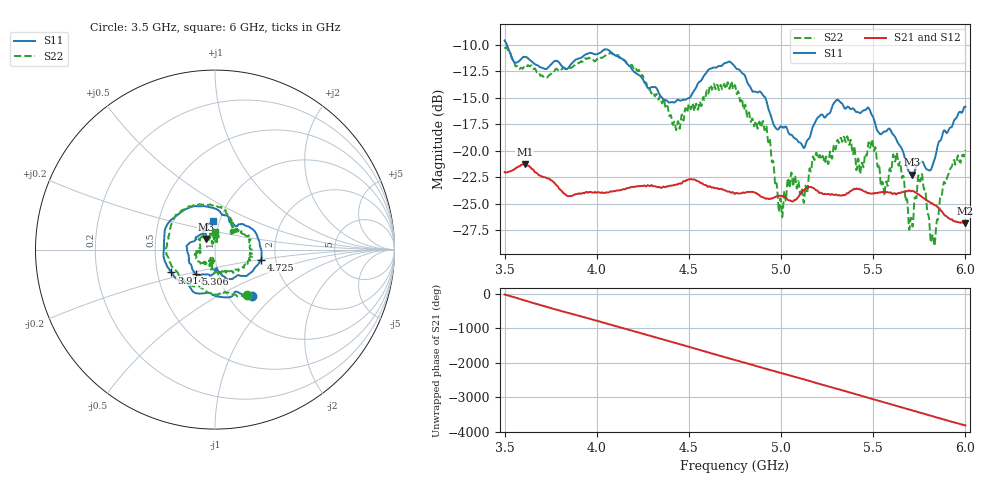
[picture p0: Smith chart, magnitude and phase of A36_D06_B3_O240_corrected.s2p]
! Created with skrf 1.9.0 (http://scikit-rf.org).
# Hz S RI R 50.0
!freq ReS11 ImS11 ReS21 ImS21 ReS12 ImS12 ReS22 ImS22
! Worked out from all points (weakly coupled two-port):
!   1601 points, 3.5 GHz to 6 GHz, reference 50 ohm
!   highest |S21| = -21.26 dB at 3.609 GHz (marker M1); lowest = -26.8 dB at 5.998 GHz (marker M2)
!   lowest |S11| = -22.3 dB at 5.713 GHz (marker M3), VSWR 1.17, Z = 45 + j5.42 ohm
!   |S11| at or under -10 dB: 3.512 GHz to end of sweep
!   |S22| runs from -29.0 to -10.2 dB; largest |S21 - S12| = 0.00095
!   S11 on the Smith chart (normalised r, x): 3.5 GHz: 1.27, -0.74; 3.914 GHz: 0.59, -0.16; 4.725 GHz: 1.67, -0.20; 5.306 GHz: 0.78, -0.22; 6 GHz: 0.93, +0.31
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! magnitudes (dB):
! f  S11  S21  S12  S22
! 3.5 GHz  -9.6  -22.0  -22.0  -10.2
! 3.609 GHz  -11.1  -21.3  -21.3  -12.1
! 3.914 GHz  -11.2  -24.0  -24.0  -11.6
! 3.917 GHz  -11.2  -24.0  -24.0  -11.6
! 4.105 GHz  -11.0  -23.8  -23.7  -11.1
! 4.334 GHz  -14.5  -23.4  -23.4  -15.2
! 4.441 GHz  -15.2  -23.2  -23.1  -17.2
! 4.725 GHz  -11.6  -23.9  -23.8  -13.9
! 4.75 GHz  -12.1  -24.1  -24.0  -13.8
! 4.912 GHz  -14.9  -24.5  -24.4  -18.0
! 4.997 GHz  -17.7  -24.2  -24.2  -24.5
! 5.167 GHz  -18.0  -23.5  -23.4  -21.3
! 5.306 GHz  -15.2  -24.2  -24.1  -19.0
! 5.486 GHz  -16.4  -24.0  -24.0  -19.6
! 5.584 GHz  -17.9  -23.9  -23.9  -22.3
! 5.636 GHz  -19.3  -24.0  -23.9  -21.3
! 5.713 GHz  -22.3  -23.8  -23.7  -27.2
! 5.756 GHz  -21.1  -24.2  -24.2  -22.9
! 5.825 GHz  -21.2  -25.0  -25.0  -28.0
! 5.889 GHz  -18.1  -26.1  -26.0  -23.1
! 5.998 GHz  -15.8  -26.8  -26.8  -20.0
! 6 GHz  -15.8  -26.8  -26.8  -19.9
